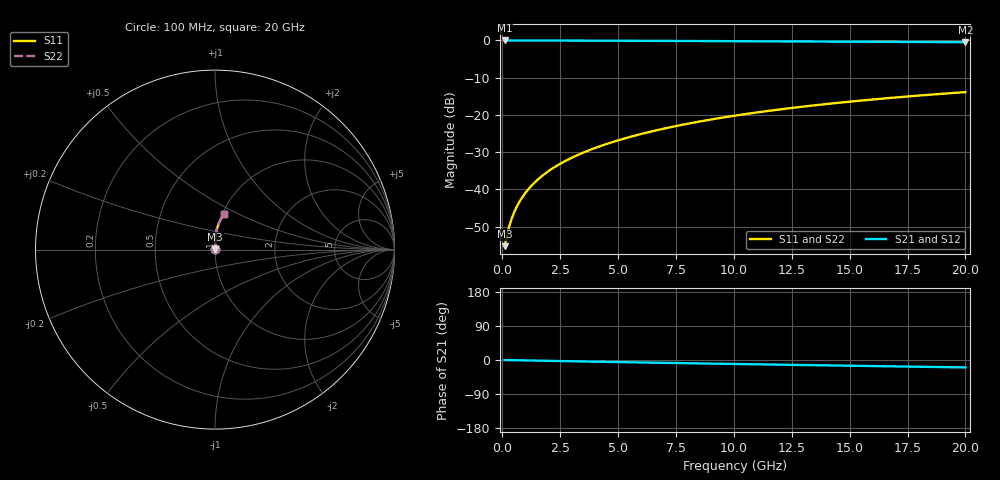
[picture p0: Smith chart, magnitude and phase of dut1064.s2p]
! Touchstone file exported from HFSS 2024.1.0
!  File:  C:/UserFiles/LocalFiles/RDL_TSV_Batchsim/temp_RDL_bottom_1064_1780052476.aedt
!  Generated:  07:03:58 PM May 29, 2026
!  Design:  RDL_bottom
!  Project:  temp_RDL_bottom_1064_1780052476
!  Setup:  Setup1
!  Solution:  Sweep
! Variables:
!  dtsv = 10.80580581um
!  hbump = 3um
!  htsv = 93.49um
!  ldown = 250.85um
!  lrdl = 100um
!  p = 40
!  p1 = 48.96um
!  rhole = 1um
!  t = 450um
!  tdown = 3.22um
!  trdl = 3.915915916um
!  wdown = 23.35um
!  wrdl = 20um
# GHz S MA R 50.000000
! Terminal data exported
! Port[1] = RDL1_T1
! Port[2] = RDL1_T2
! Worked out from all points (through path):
!   200 points, 100 MHz to 20 GHz, reference 50 ohm
!   highest |S21| = -0.01 dB at 100 MHz (marker M1); lowest = -0.5 dB at 20 GHz (marker M2)
!   group delay of S21, straight-line fit = 2.69 ps
!   lowest |S11| = -55.3 dB at 100 MHz (marker M3), VSWR 1.00, Z = 50.1 + j0.0967 ohm
!   |S11| at or under -10 dB: start of sweep to end of sweep
!   |S22| runs from -55.3 to -13.9 dB; largest |S21 - S12| = 5.2e-15
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0.1  0.001725 34.0  0.9986 -0.1  0.9986 -0.1  0.001725 34.0
! Gamma 0 0 0 0
! Port Impedance 50 0 50 0
0.2  0.002412 51.9  0.9985 -0.2  0.9985 -0.2  0.002412 51.9
0.3  0.003198 60.9  0.9984 -0.4  0.9984 -0.4  0.003198 60.9
0.4  0.004004 66.3  0.9983 -0.5  0.9983 -0.5  0.004004 66.3
0.5  0.004816 70.0  0.9982 -0.6  0.9982 -0.6  0.004816 70.0
0.6  0.005634 72.7  0.9982 -0.7  0.9982 -0.7  0.005634 72.7
0.8  0.007289 76.6  0.998 -0.9  0.998 -0.9  0.007289 76.6
1.1  0.009812 80.1  0.9978 -1.3  0.9978 -1.3  0.009812 80.1
1.3  0.01152 81.7  0.9976 -1.5  0.9976 -1.5  0.01152 81.7
1.6  0.0141 83.4  0.9973 -1.8  0.9973 -1.8  0.0141 83.4
2.1  0.01848 85.3  0.9966 -2.4  0.9966 -2.4  0.01848 85.3
2.7  0.02384 86.7  0.9957 -3.0  0.9957 -3.0  0.02384 86.7
3.5  0.03117 87.8  0.9941 -3.9  0.9941 -3.9  0.03117 87.8
4.2  0.03776 88.3  0.9925 -4.7  0.9925 -4.7  0.03776 88.3
5  0.04548 88.6  0.9905 -5.5  0.9905 -5.5  0.04548 88.6
5.9  0.05441 88.6  0.9881 -6.4  0.9881 -6.4  0.05441 88.6
6.8  0.06354 88.4  0.9855 -7.4  0.9855 -7.4  0.06355 88.4
8.4  0.08019 87.5  0.9808 -8.9  0.9808 -8.9  0.0802 87.5
10.1  0.09823 86.2  0.9758 -10.6  0.9758 -10.6  0.09824 86.2
13.4  0.1335 83.0  0.9661 -13.7  0.9661 -13.7  0.1335 83.0
16.7  0.1683 79.6  0.9566 -16.7  0.9566 -16.7  0.1683 79.6
20  0.2022 76.2  0.9469 -19.6  0.9469 -19.6  0.2022 76.2
